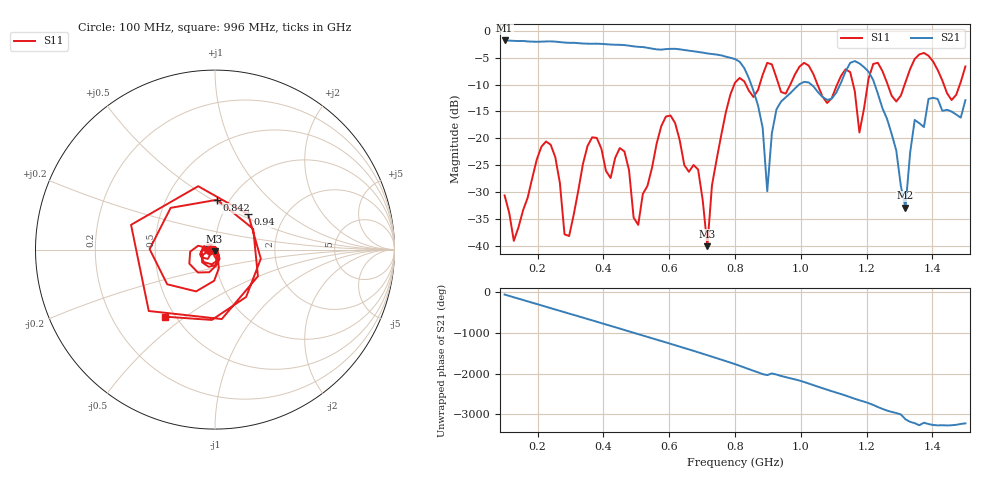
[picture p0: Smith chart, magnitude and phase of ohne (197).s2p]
! NanoVNA-App
! Date: 2025-09-25 14:22:20
! Start: 100MHz Stop: 1,5GHz Points: 101
! S-Parameter data: F S11 S21 S12 S22
# Hz S RI R 50
!  Frequency  S11_Real  S11_Imag  S21_Real  S21_Imag  S12_Real  S12_Imag  S22_Real  S22_Imag
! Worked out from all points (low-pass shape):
!   101 points, 100 MHz to 1.5 GHz, reference 50 ohm
!   highest |S21| = -1.79 dB at 100 MHz (marker M1); lowest = -32.9 dB at 1.318 GHz (marker M2)
!   |S21| within 3 dB of the highest: start of sweep to 771.6 MHz
!   lowest |S11| = -40.1 dB at 716 MHz (marker M3), VSWR 1.02, Z = 49.7 - j0.954 ohm
!   |S11| at or under -10 dB: start of sweep to 797.8 MHz; 832.9 MHz to 875 MHz (42.09 MHz wide, 4.93 % of centre); 1.051 GHz to 1.11 GHz (59.7 MHz wide, 5.53 % of centre) (the widest 3 of 7)
!   S12 and S22 are empty: the file has one direction only
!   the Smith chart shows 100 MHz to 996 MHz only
!   S11 on the Smith chart (normalised r, x): 100 MHz: 0.94, -0.01; 842 MHz: 0.88, +0.53; 940 MHz: 1.32, +0.56; 996 MHz: 0.44, -0.42
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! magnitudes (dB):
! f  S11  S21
! 100 MHz  -30.6  -1.8
! 128 MHz  -39.1  -1.9
! 226 MHz  -20.6  -2.0
! 296 MHz  -38.2  -2.2
! 338 MHz  -24.8  -2.4
! 464 MHz  -22.5  -2.7
! 506 MHz  -36.1  -3.0
! 576 MHz  -17.7  -3.5
! 688 MHz  -25.8  -3.9
! 716 MHz  -40.1  -4.2
! 800 MHz  -9.7  -5.3
! 842 MHz  -11.1  -8.8
! 898 MHz  -6.0  -29.9
! 940 MHz  -11.4  -13.2
! 996 MHz  -6.7  -9.9
! 1.038 GHz  -8.0  -10.3
! 1.178 GHz  -18.9  -6.1
! 1.22 GHz  -6.2  -9.2
! 1.276 GHz  -12.1  -19.2
! 1.318 GHz  -9.6  -32.9
! 1.346 GHz  -5.2  -16.6
! 1.5 GHz  -6.6  -12.9
